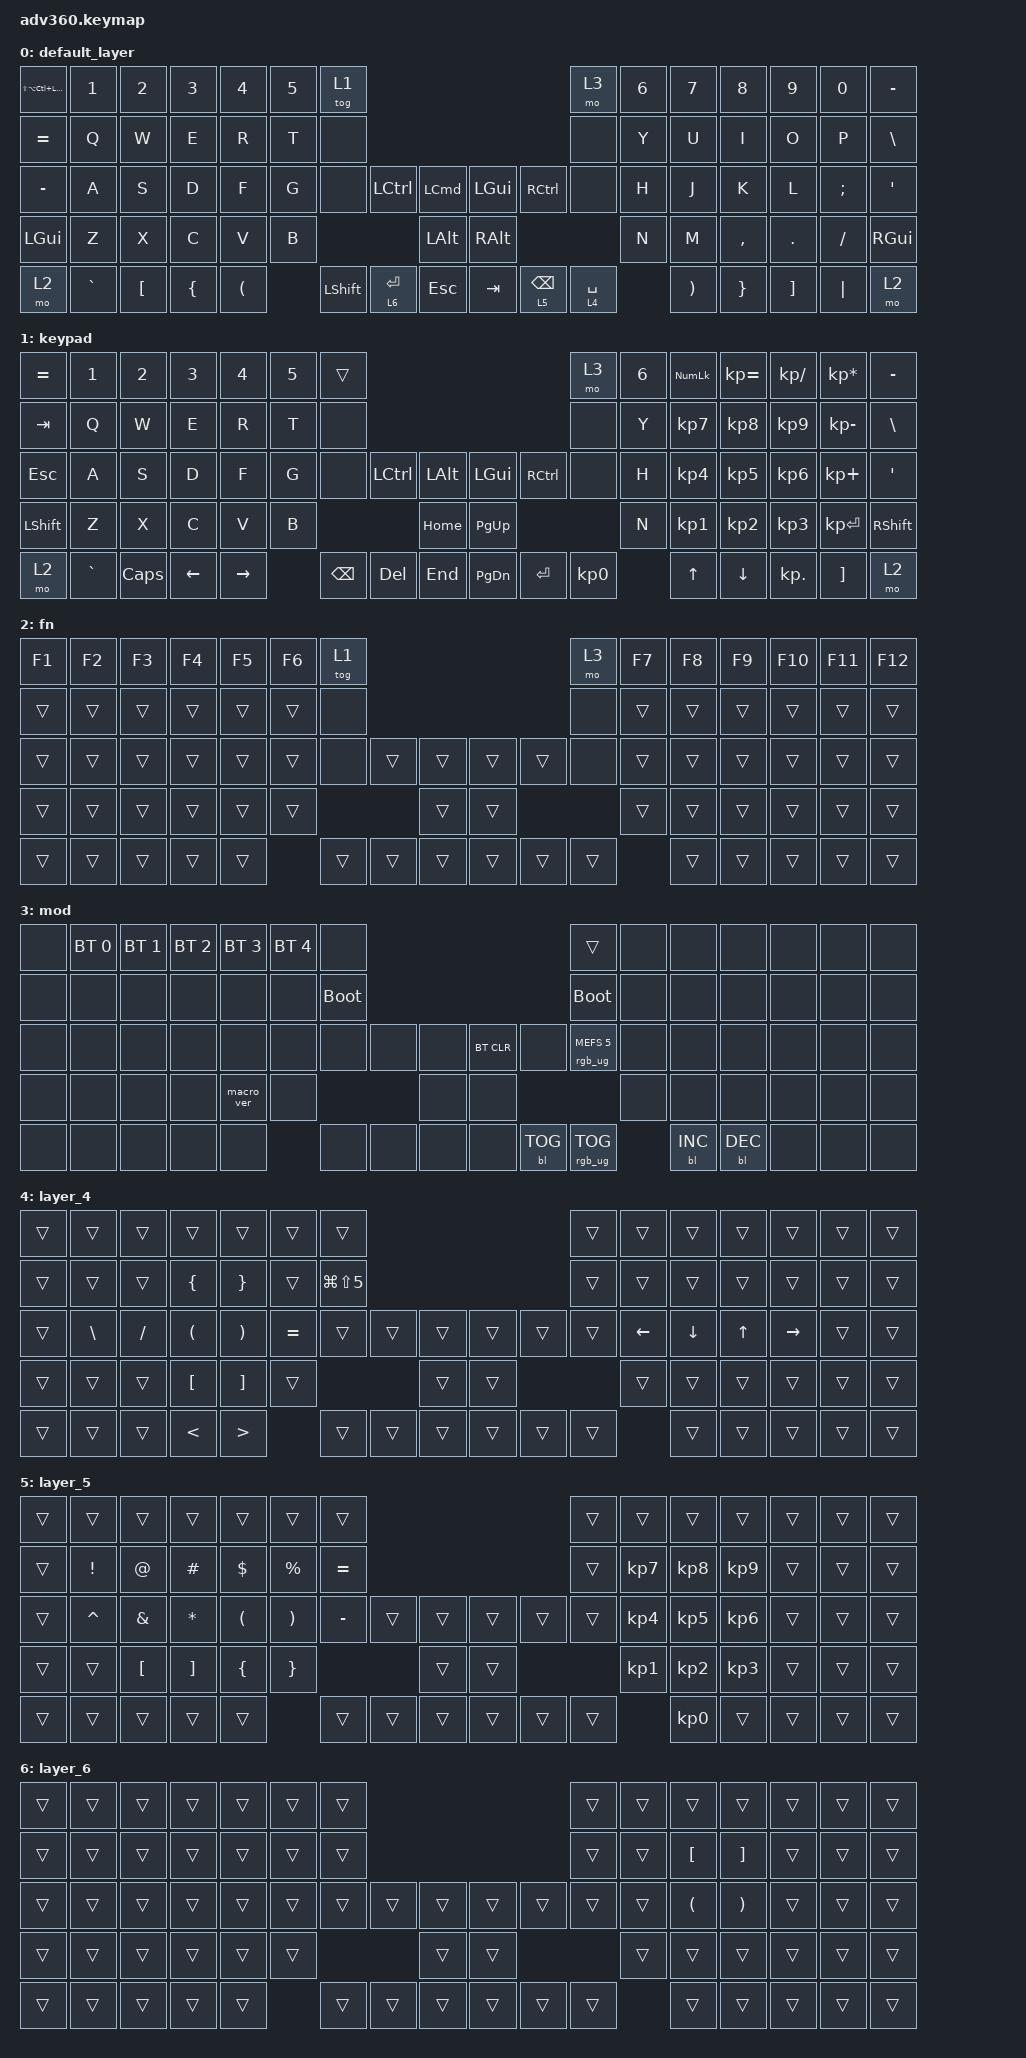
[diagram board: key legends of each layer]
#include <behaviors.dtsi>
#include <dt-bindings/zmk/backlight.h>
#include <dt-bindings/zmk/bt.h>
#include <dt-bindings/zmk/keys.h>
#include <dt-bindings/zmk/rgb.h>

/ {
    behaviors {
        #include "macros.dtsi"
      #include "version.dtsi"
      #ifndef VERSION_MACRO

        macro_ver: macro_ver {
            compatible = "zmk,behavior-macro";
            label = "macro_version";
            #binding-cells = <0>;
            bindings = <&kp RET>;
        };

        #endif

        hm: homerow_mods {
            compatible = "zmk,behavior-hold-tap";
            label = "HOMEROW_MODS";
            #binding-cells = <2>;
            tapping-term-ms = <200>;
            quick_tap_ms = <175>;
            flavor = "tap-preferred";
            bindings = <&kp>, <&kp>;
        };
    };

    macros {
    };

    keymap {
        compatible = "zmk,keymap";

        default_layer {
            bindings = <
&kp LS(LA(LC(LEFT_GUI)))  &kp N1     &kp N2            &kp N3          &kp N4                &kp N5  &tog 1                                                                             &mo 3        &kp N6  &kp N7                 &kp N8           &kp N9             &kp N0    &kp MINUS
&kp EQUAL                 &kp Q      &kp W             &kp E           &kp R                 &kp T   &none                                                                              &none        &kp Y   &kp U                  &kp I            &kp O              &kp P     &kp BSLH
&kp MINUS                 &kp A      &kp S             &kp D           &kp F                 &kp G   &none           &kp LCTRL    &kp LEFT_COMMAND      &kp LGUI       &kp RCTRL        &none        &kp H   &kp J                  &kp K            &kp L              &kp SEMI  &kp SQT
&kp LEFT_GUI              &kp Z      &kp X             &kp C           &kp V                 &kp B                                &kp LEFT_ALT          &kp RIGHT_ALT                                &kp N   &kp M                  &kp COMMA        &kp DOT            &kp FSLH  &kp RIGHT_GUI
&mo 2                     &kp GRAVE  &kp LEFT_BRACKET  &kp LEFT_BRACE  &kp LEFT_PARENTHESIS          &kp LEFT_SHIFT  &lt 6 ENTER  &kp ESCAPE            &kp TAB        &lt 5 BACKSPACE  &lt 4 SPACE          &kp RIGHT_PARENTHESIS  &kp RIGHT_BRACE  &kp RIGHT_BRACKET  &kp PIPE  &mo 2
            >;
        };

        keypad {
            bindings = <
&kp EQUAL  &kp N1     &kp N2    &kp N3    &kp N4     &kp N5  &trans                                                   &mo 3      &kp N6  &kp KP_NUM  &kp KP_EQUAL  &kp KP_DIVIDE  &kp KP_MULTIPLY  &kp MINUS
&kp TAB    &kp Q      &kp W     &kp E     &kp R      &kp T   &none                                                    &none      &kp Y   &kp KP_N7   &kp KP_N8     &kp KP_N9      &kp KP_MINUS     &kp BSLH
&kp ESC    &kp A      &kp S     &kp D     &kp F      &kp G   &none     &kp LCTRL  &kp LALT      &kp LGUI   &kp RCTRL  &none      &kp H   &kp KP_N4   &kp KP_N5     &kp KP_N6      &kp KP_PLUS      &kp SQT
&kp LSHFT  &kp Z      &kp X     &kp C     &kp V      &kp B                        &kp HOME      &kp PG_UP                        &kp N   &kp KP_N1   &kp KP_N2     &kp KP_N3      &kp KP_ENTER     &kp RSHFT
&mo 2      &kp GRAVE  &kp CAPS  &kp LEFT  &kp RIGHT          &kp BSPC  &kp DEL    &kp END       &kp PG_DN  &kp ENTER  &kp KP_N0          &kp UP      &kp DOWN      &kp KP_DOT     &kp RBKT         &mo 2
            >;
        };

        fn {
            bindings = <
&kp F1  &kp F2  &kp F3  &kp F4  &kp F5  &kp F6  &tog 1                                      &mo 3   &kp F7  &kp F8  &kp F9  &kp F10  &kp F11  &kp F12
&trans  &trans  &trans  &trans  &trans  &trans  &none                                       &none   &trans  &trans  &trans  &trans   &trans   &trans
&trans  &trans  &trans  &trans  &trans  &trans  &none   &trans  &trans      &trans  &trans  &none   &trans  &trans  &trans  &trans   &trans   &trans
&trans  &trans  &trans  &trans  &trans  &trans                  &trans      &trans                  &trans  &trans  &trans  &trans   &trans   &trans
&trans  &trans  &trans  &trans  &trans          &trans  &trans  &trans      &trans  &trans  &trans          &trans  &trans  &trans   &trans   &trans
            >;
        };

        mod {
            bindings = <
&none  &bt BT_SEL 0  &bt BT_SEL 1  &bt BT_SEL 2  &bt BT_SEL 3  &bt BT_SEL 4  &none                                                  &trans                  &none  &none       &none       &none  &none  &none
&none  &none         &none         &none         &none         &none         &bootloader                                            &bootloader             &none  &none       &none       &none  &none  &none
&none  &none         &none         &none         &none         &none         &none        &none  &none      &bt BT_CLR  &none       &rgb_ug RGB_MEFS_CMD 5  &none  &none       &none       &none  &none  &none
&none  &none         &none         &none         &macro_ver    &none                             &none      &none                                           &none  &none       &none       &none  &none  &none
&none  &none         &none         &none         &none                       &none        &none  &none      &none       &bl BL_TOG  &rgb_ug RGB_TOG                &bl BL_INC  &bl BL_DEC  &none  &none  &none
            >;
        };

        layer_4 {
            bindings = <
&trans  &trans         &trans     &trans                &trans                 &trans     &trans                                              &trans  &trans    &trans    &trans        &trans     &trans  &trans
&trans  &trans         &trans     &kp LEFT_BRACE        &kp RIGHT_BRACE        &trans     &kp LG(LS(N5))                                      &trans  &trans    &trans    &trans        &trans     &trans  &trans
&trans  &kp BACKSLASH  &kp SLASH  &kp LEFT_PARENTHESIS  &kp RIGHT_PARENTHESIS  &kp EQUAL  &trans          &trans  &trans      &trans  &trans  &trans  &kp LEFT  &kp DOWN  &kp UP_ARROW  &kp RIGHT  &trans  &trans
&trans  &trans         &trans     &kp LEFT_BRACKET      &kp RIGHT_BRACKET      &trans                             &trans      &trans                  &trans    &trans    &trans        &trans     &trans  &trans
&trans  &trans         &trans     &kp LESS_THAN         &kp GREATER_THAN                  &trans          &trans  &trans      &trans  &trans  &trans            &trans    &trans        &trans     &trans  &trans
            >;
        };

        layer_5 {
            bindings = <
&trans  &trans           &trans            &trans             &trans                &trans                 &trans                                         &trans  &trans           &trans           &trans           &trans  &trans  &trans
&trans  &kp EXCLAMATION  &kp AT_SIGN       &kp HASH           &kp DOLLAR            &kp PERCENT            &kp EQUAL                                      &trans  &kp KP_NUMBER_7  &kp KP_NUMBER_8  &kp KP_NUMBER_9  &trans  &trans  &trans
&trans  &kp CARET        &kp AMPERSAND     &kp ASTERISK       &kp LEFT_PARENTHESIS  &kp RIGHT_PARENTHESIS  &kp MINUS  &trans  &trans      &trans  &trans  &trans  &kp KP_NUMBER_4  &kp KP_NUMBER_5  &kp KP_NUMBER_6  &trans  &trans  &trans
&trans  &trans           &kp LEFT_BRACKET  &kp RIGHT_BRACKET  &kp LEFT_BRACE        &kp RIGHT_BRACE                           &trans      &trans                  &kp KP_NUMBER_1  &kp KP_NUMBER_2  &kp KP_NUMBER_3  &trans  &trans  &trans
&trans  &trans           &trans            &trans             &trans                                       &trans     &trans  &trans      &trans  &trans  &trans                   &kp KP_NUMBER_0  &trans           &trans  &trans  &trans
            >;
        };

        layer_6 {
            bindings = <
&trans  &trans  &trans  &trans  &trans  &trans  &trans                                      &trans  &trans  &trans                &trans                 &trans  &trans  &trans
&trans  &trans  &trans  &trans  &trans  &trans  &trans                                      &trans  &trans  &kp LEFT_BRACKET      &kp RIGHT_BRACKET      &trans  &trans  &trans
&trans  &trans  &trans  &trans  &trans  &trans  &trans  &trans  &trans      &trans  &trans  &trans  &trans  &kp LEFT_PARENTHESIS  &kp RIGHT_PARENTHESIS  &trans  &trans  &trans
&trans  &trans  &trans  &trans  &trans  &trans                  &trans      &trans                  &trans  &trans                &trans                 &trans  &trans  &trans
&trans  &trans  &trans  &trans  &trans          &trans  &trans  &trans      &trans  &trans  &trans          &trans                &trans                 &trans  &trans  &trans
            >;
        };
    };
};
